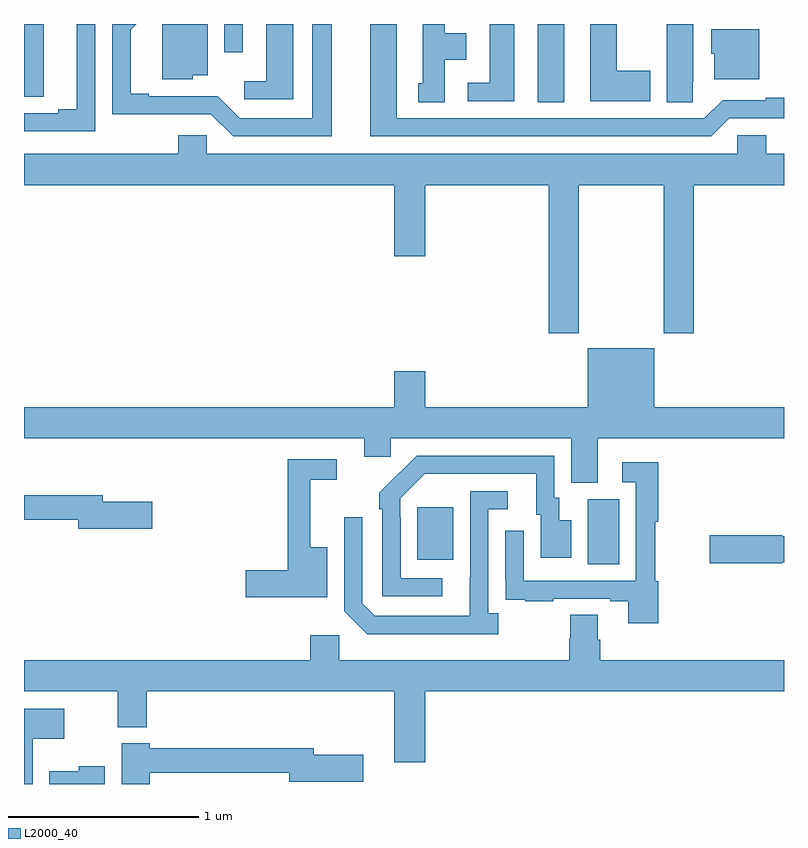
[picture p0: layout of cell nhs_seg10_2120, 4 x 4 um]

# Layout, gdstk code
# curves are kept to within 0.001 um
import gdstk
lib = gdstk.Library(unit=1e-6, precision=1e-09)
def R(c, l, rs):  # rectangles x0, y0, x1, y1
    for r in rs: c.add(gdstk.rectangle(r[:2], r[2:], *l))
def P(c, l, *ps):  # polygons
    for p in ps: c.add(gdstk.Polygon(p, *l))
L2000_40 = (2000, 40)

nhs_seg10_2120 = lib.new_cell('nhs_seg10_2120')
R(nhs_seg10_2120, L2000_40, [(225.968,1295.656,226.132,1296), (225.071,1295.681,225.259,1295.956), (225.704,1298.089,225.844,1298.5), (223,1298.116,223.105,1298.5), (224.055,1298.352,224.151,1298.5)])
P(nhs_seg10_2120, L2000_40, [(223.374,1298.5),(223.277,1298.5),(223.277,1298.051),(223.181,1298.051),(223.181,1298.031),(223,1298.031),(223,1297.935),(223.374,1297.935)],
  [(226.521,1298.2),(226.522,1298.2),(226.522,1298.5),(226.382,1298.5),(226.382,1298.089),(226.521,1298.089)],
  [(226.297,1298.253),(226.12,1298.253),(226.12,1298.5),(225.98,1298.5),(225.98,1298.093),(226.297,1298.093)],
  [(225.214,1298.312),(225.328,1298.312),(225.328,1298.452),(225.214,1298.452),(225.214,1298.5),(225.098,1298.5),(225.098,1298.187),(225.074,1298.187),(225.074,1298.089),(225.214,1298.089)],
  [(224.62,1298.5),(224.516,1298.5),(224.516,1298.004),(224.136,1298.004),(224.019,1298.121),(223.657,1298.121),(223.657,1298.134),(223.561,1298.134),(223.561,1298.47),(223.591,1298.5),(223.464,1298.5),(223.464,1298.024),(223.983,1298.025),(224.1,1297.908),(224.62,1297.908)],
  [(225.58,1298.5),(225.452,1298.5),(225.452,1298.19),(225.336,1298.19),(225.336,1298.094),(225.58,1298.094)],
  [(226.713,1298.004),(227,1298.004),(227,1298.113),(226.904,1298.113),(226.904,1298.1),(226.677,1298.1),(226.581,1298.004),(224.962,1298.004),(224.962,1298.5),(224.822,1298.5),(224.822,1297.908),(226.617,1297.908)],
  [(223.887,1298.231),(223.966,1298.231),(223.966,1298.5),(223.727,1298.5),(223.727,1298.21),(223.887,1298.21)],
  [(224.416,1298.5),(224.276,1298.5),(224.276,1298.2),(224.16,1298.2),(224.16,1298.103),(224.416,1298.103)],
  [(226.87,1298.473),(226.616,1298.473),(226.616,1298.343),(226.634,1298.343),(226.634,1298.21),(226.87,1298.21)],
  [(225.921,1297.652),(226.366,1297.652),(226.366,1296.873),(226.526,1296.873),(226.526,1297.652),(227,1297.652),(227,1297.816),(226.907,1297.816),(226.907,1297.914),(226.755,1297.914),(226.755,1297.816),(223.962,1297.816),(223.962,1297.914),(223.811,1297.914),(223.811,1297.816),(223,1297.816),(223,1297.652),(224.948,1297.652),(224.948,1297.278),(225.112,1297.278),(225.112,1297.652),(225.761,1297.652),(225.761,1296.873),(225.921,1296.873)],
  [(226.021,1296.32),(227,1296.32),(227,1296.484),(226.318,1296.484),(226.318,1296.793),(225.968,1296.793),(225.968,1296.484),(225.112,1296.484),(225.112,1296.673),(224.948,1296.673),(224.948,1296.484),(223,1296.484),(223,1296.32),(224.792,1296.32),(224.792,1296.222),(224.931,1296.222),(224.931,1296.32),(225.881,1296.32),(225.881,1296.085),(226.021,1296.085)],
  [(225.202,1295.583),(224.982,1295.583),(224.982,1295.903),(224.979,1295.903),(224.979,1296.003),(225.108,1296.132),(225.695,1296.132),(225.695,1295.916),(225.719,1295.916),(225.719,1295.691),(225.88,1295.691),(225.88,1295.887),(225.817,1295.887),(225.817,1296.006),(225.792,1296.006),(225.792,1296.228),(225.068,1296.228),(224.871,1296.033),(224.871,1295.945),(224.886,1295.945),(224.886,1295.487),(225.202,1295.487)],
  [(224.596,1295.746),(224.507,1295.746),(224.507,1296.102),(224.647,1296.102),(224.647,1296.21),(224.389,1296.21),(224.389,1295.624),(224.166,1295.624),(224.166,1295.482),(224.596,1295.482)],
  [(226.337,1295.568),(226.322,1295.568),(226.322,1295.88),(226.337,1295.88),(226.337,1296.193),(226.149,1296.193),(226.149,1296.087),(226.221,1296.087),(226.221,1295.571),(225.63,1295.571),(225.63,1295.833),(225.534,1295.833),(225.534,1295.578),(225.535,1295.578),(225.535,1295.469),(225.637,1295.469),(225.637,1295.463),(225.785,1295.463),(225.785,1295.475),(226.085,1295.475),(226.085,1295.463),(226.181,1295.463),(226.181,1295.346),(226.337,1295.346)],
  [(225.496,1295.398),(225.444,1295.398),(225.444,1295.946),(225.547,1295.946),(225.547,1296.042),(225.348,1296.042),(225.347,1295.385),(224.847,1295.385),(224.781,1295.451),(224.781,1295.905),(224.685,1295.905),(224.685,1295.409),(224.806,1295.288),(225.496,1295.288)],
  [(223.675,1295.985),(223.414,1295.985),(223.414,1296.019),(223,1296.019),(223,1295.89),(223.286,1295.89),(223.286,1295.843),(223.675,1295.843)],
  [(226.992,1295.668),(227,1295.668),(227,1295.804),(226.992,1295.804),(226.992,1295.81),(226.608,1295.81),(226.608,1295.663),(226.992,1295.663)],
  [(225.112,1294.988),(227,1294.988),(227,1295.152),(226.034,1295.152),(226.034,1295.258),(226.021,1295.258),(226.021,1295.39),(225.874,1295.39),(225.874,1295.265),(225.869,1295.265),(225.869,1295.152),(224.658,1295.152),(224.658,1295.284),(224.507,1295.284),(224.507,1295.152),(223,1295.152),(223,1294.988),(223.493,1294.988),(223.493,1294.799),(223.646,1294.799),(223.646,1294.988),(224.948,1294.988),(224.948,1294.614),(225.112,1294.614)],
  [(223.045,1294.739),(223.213,1294.739),(223.213,1294.897),(223,1294.897),(223,1294.5),(223.045,1294.5)],
  [(223.661,1294.558),(224.396,1294.558),(224.396,1294.511),(224.785,1294.511),(224.785,1294.653),(224.524,1294.653),(224.524,1294.687),(223.661,1294.687),(223.661,1294.714),(223.514,1294.714),(223.514,1294.5),(223.661,1294.5)],
  [(223.426,1294.594),(223.287,1294.594),(223.287,1294.567),(223.133,1294.567),(223.133,1294.5),(223.426,1294.5)])

lib.write_gds('nhs_seg10_2120.gds')
